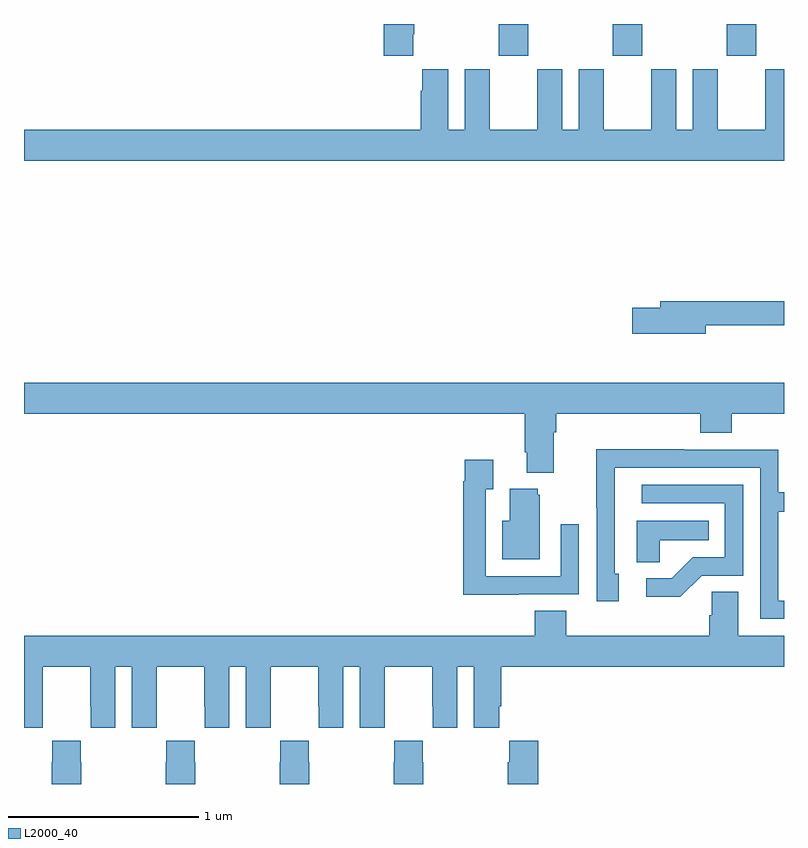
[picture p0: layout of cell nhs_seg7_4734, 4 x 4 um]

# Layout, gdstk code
import gdstk
lib = gdstk.Library(unit=1e-6, precision=1e-09)
def R(c, l, rs):  # rectangles x0, y0, x1, y1
    for r in rs: c.add(gdstk.rectangle(r[:2], r[2:], *l))
def A(c, l, x, y, w, h, nx, ny, dx, dy):  # array of equal rectangles
    R(c, l, [(x+i*dx, y+j*dy, x+i*dx+w, y+j*dy+h) for i in range(nx) for j in range(ny)])
def P(c, l, *ps):  # polygons
    for p in ps: c.add(gdstk.Polygon(p, *l))
L2000_40 = (2000, 40)

nhs_seg7_4734 = lib.new_cell('nhs_seg7_4734')
A(nhs_seg7_4734, L2000_40, 411.499, 1003.833, 0.155, 0.167, 3, 1, 0.6, 0)
P(nhs_seg7_4734, L2000_40, [(411.049,1003.945),(411.054,1003.945),(411.054,1004),(410.894,1004),(410.894,1003.833),(411.049,1003.833)],
  [(413,1003.762),(412.901,1003.762),(412.901,1003.444),(412.651,1003.444),(412.651,1003.762),(412.52,1003.762),(412.52,1003.444),(412.432,1003.444),(412.432,1003.762),(412.301,1003.762),(412.301,1003.444),(412.051,1003.444),(412.051,1003.762),(411.92,1003.762),(411.92,1003.444),(411.832,1003.444),(411.832,1003.762),(411.701,1003.762),(411.701,1003.444),(411.451,1003.444),(411.451,1003.762),(411.32,1003.762),(411.32,1003.444),(411.232,1003.444),(411.232,1003.762),(411.095,1003.762),(411.095,1003.649),(411.089,1003.649),(411.089,1003.444),(409,1003.444),(409,1003.28),(413,1003.28)],
  [(412.588,1002.414),(413,1002.414),(413,1002.542),(412.349,1002.542),(412.349,1002.506),(412.2,1002.506),(412.2,1002.371),(412.588,1002.371)],
  [(411.787,1001.852),(411.8,1001.852),(411.8,1001.948),(412.559,1001.948),(412.559,1001.849),(412.724,1001.849),(412.724,1001.948),(413,1001.948),(413,1002.112),(409,1002.112),(409,1001.948),(411.635,1001.948),(411.635,1001.746),(411.647,1001.746),(411.647,1001.639),(411.787,1001.639)],
  [(413,1000.965),(412.971,1000.965),(412.971,1001.434),(413,1001.434),(413,1001.535),(412.971,1001.535),(412.971,1001.76),(412.475,1001.76),(412.475,1001.762),(412.012,1001.762),(412.012,1001.455),(412.014,1001.455),(412.014,1000.962),(412.129,1000.962),(412.129,1001.106),(412.11,1001.106),(412.11,1001.664),(412.875,1001.664),(412.875,1000.869),(413,1000.869)],
  [(411.605,1000.998),(411.921,1000.998),(411.921,1001.368),(411.825,1001.368),(411.825,1001.094),(411.429,1001.094),(411.429,1001.551),(411.469,1001.551),(411.469,1001.707),(411.321,1001.707),(411.321,1001.594),(411.313,1001.594),(411.313,1000.997),(411.605,1000.997)],
  [(412.566,1001.097),(412.785,1001.097),(412.785,1001.574),(412.251,1001.574),(412.251,1001.478),(412.689,1001.478),(412.689,1001.193),(412.52,1001.193),(412.409,1001.082),(412.275,1001.082),(412.275,1000.985),(412.453,1000.985)],
  [(411.715,1001.523),(411.704,1001.523),(411.704,1001.554),(411.557,1001.554),(411.557,1001.386),(411.518,1001.386),(411.518,1001.183),(411.715,1001.183)],
  [(412.347,1001.282),(412.604,1001.282),(412.604,1001.386),(412.226,1001.386),(412.226,1001.167),(412.347,1001.167)],
  [(409,1000.296),(409.098,1000.296),(409.098,1000.408),(409.099,1000.408),(409.099,1000.616),(409.349,1000.616),(409.349,1000.408),(409.35,1000.408),(409.35,1000.296),(409.48,1000.296),(409.48,1000.616),(409.568,1000.616),(409.568,1000.296),(409.698,1000.296),(409.698,1000.408),(409.699,1000.408),(409.699,1000.616),(409.949,1000.616),(409.949,1000.408),(409.95,1000.408),(409.95,1000.296),(410.08,1000.296),(410.08,1000.616),(410.168,1000.616),(410.168,1000.296),(410.298,1000.296),(410.298,1000.408),(410.299,1000.408),(410.299,1000.616),(410.549,1000.616),(410.549,1000.408),(410.55,1000.408),(410.55,1000.296),(410.68,1000.296),(410.68,1000.616),(410.768,1000.616),(410.768,1000.296),(410.898,1000.296),(410.898,1000.408),(410.899,1000.408),(410.899,1000.616),(411.149,1000.616),(411.149,1000.408),(411.15,1000.408),(411.15,1000.296),(411.28,1000.296),(411.28,1000.616),(411.368,1000.616),(411.368,1000.296),(411.502,1000.296),(411.502,1000.408),(411.512,1000.408),(411.512,1000.616),(413,1000.616),(413,1000.78),(412.759,1000.78),(412.759,1001.012),(412.62,1001.012),(412.62,1000.889),(412.607,1000.889),(412.607,1000.78),(411.854,1000.78),(411.854,1000.913),(411.689,1000.913),(411.689,1000.78),(409,1000.78)],
  [(411.707,1000.228),(411.553,1000.228),(411.553,1000.115),(411.547,1000.115),(411.547,1000),(411.707,1000)],
  [(411.102,1000.115),(411.099,1000.115),(411.099,1000.228),(410.949,1000.228),(410.949,1000.115),(410.947,1000.115),(410.947,1000),(411.102,1000)],
  [(410.502,1000.115),(410.499,1000.115),(410.499,1000.228),(410.349,1000.228),(410.349,1000.115),(410.347,1000.115),(410.347,1000),(410.502,1000)],
  [(409.902,1000.115),(409.899,1000.115),(409.899,1000.228),(409.749,1000.228),(409.749,1000.115),(409.747,1000.115),(409.747,1000),(409.902,1000)],
  [(409.302,1000.115),(409.299,1000.115),(409.299,1000.228),(409.149,1000.228),(409.149,1000.115),(409.147,1000.115),(409.147,1000),(409.302,1000)])

lib.write_gds('nhs_seg7_4734.gds')
